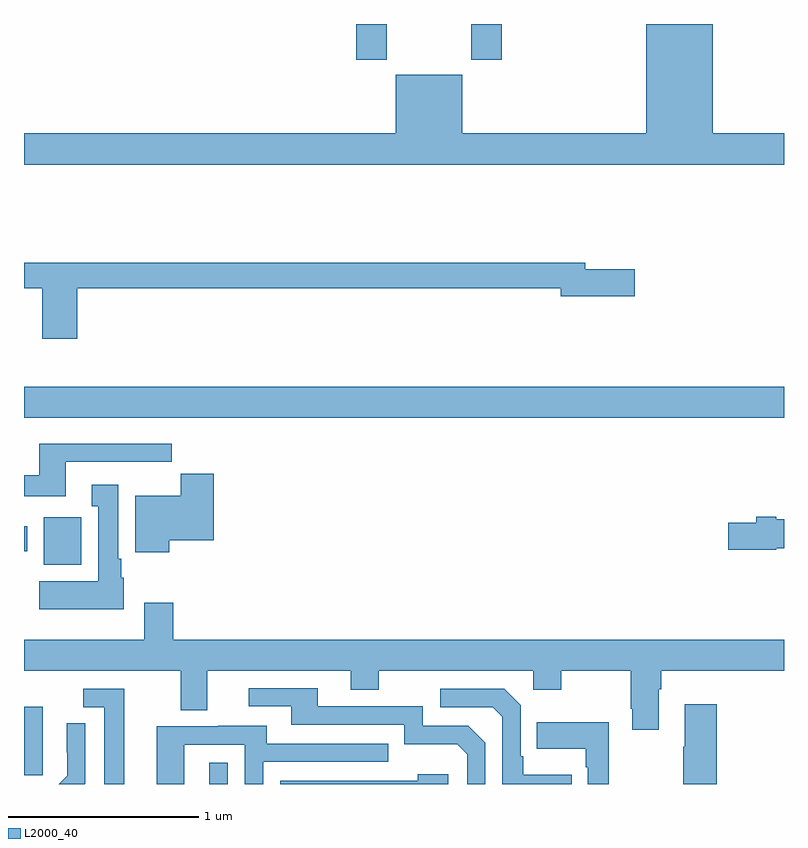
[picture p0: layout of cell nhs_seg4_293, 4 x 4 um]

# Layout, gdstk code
import gdstk
lib = gdstk.Library(unit=1e-6, precision=1e-09)
def R(c, l, rs):  # rectangles x0, y0, x1, y1
    for r in rs: c.add(gdstk.rectangle(r[:2], r[2:], *l))
def P(c, l, *ps):  # polygons
    for p in ps: c.add(gdstk.Polygon(p, *l))
L2000_40 = (2000, 40)

nhs_seg4_293 = lib.new_cell('nhs_seg4_293')
R(nhs_seg4_293, L2000_40, [(125.975,786.9,126.072,787.012), (125,786.945,125.098,787.306), (125.105,788.054,125.301,788.305), (125,788.124,125.017,788.256), (125,788.828,129,788.992), (126.749,790.713,126.909,790.9), (127.354,790.713,127.514,790.9)])
P(nhs_seg4_293, L2000_40, [(129,790.324),(128.626,790.324),(128.626,790.9),(128.276,790.9),(128.276,790.324),(127.306,790.324),(127.306,790.633),(126.956,790.633),(126.956,790.324),(125,790.324),(125,790.16),(129,790.16)],
  [(125.279,789.508),(127.826,789.508),(127.826,789.466),(128.215,789.466),(128.215,789.608),(127.954,789.608),(127.954,789.644),(125,789.644),(125,789.508),(125.096,789.508),(125.096,789.243),(125.279,789.243)],
  [(125.221,788.595),(125.669,788.595),(125.669,788.597),(125.778,788.597),(125.778,788.692),(125.081,788.692),(125.081,788.524),(125,788.524),(125,788.415),(125.221,788.415)],
  [(125.764,788.183),(125.999,788.183),(125.999,788.532),(125.825,788.532),(125.825,788.416),(125.585,788.416),(125.585,788.12),(125.764,788.12)],
  [(125.524,787.986),(125.512,787.986),(125.512,788.086),(125.497,788.086),(125.497,788.476),(125.357,788.476),(125.357,788.363),(125.39,788.363),(125.39,787.966),(125.081,787.966),(125.081,787.82),(125.524,787.82)],
  [(128.959,788.141),(129,788.141),(129,788.293),(128.959,788.293),(128.959,788.306),(128.855,788.306),(128.855,788.276),(128.706,788.276),(128.706,788.134),(128.959,788.134)],
  [(128.341,787.4),(128.354,787.4),(128.354,787.496),(129,787.496),(129,787.66),(125.786,787.66),(125.786,787.855),(125.633,787.855),(125.633,787.66),(125,787.66),(125,787.496),(125.825,787.496),(125.825,787.288),(125.965,787.288),(125.965,787.496),(126.719,787.496),(126.719,787.397),(126.867,787.397),(126.867,787.496),(127.68,787.496),(127.68,787.397),(127.827,787.397),(127.827,787.496),(128.194,787.496),(128.194,787.297),(128.201,787.297),(128.201,787.185),(128.341,787.185)],
  [(127.428,787.116),(127.338,787.206),(127.098,787.206),(127.098,787.308),(126.547,787.308),(126.547,787.404),(126.183,787.404),(126.183,787.308),(126.407,787.308),(126.407,787.212),(127.002,787.212),(127.002,787.109),(127.279,787.109),(127.332,787.056),(127.332,786.9),(127.428,786.9)],
  [(127.883,786.949),(127.627,786.949),(127.627,787.045),(127.614,787.045),(127.614,787.314),(127.527,787.401),(127.191,787.401),(127.191,787.305),(127.467,787.305),(127.518,787.254),(127.518,786.9),(127.883,786.9)],
  [(125.527,787.401),(125.313,787.401),(125.313,787.305),(125.423,787.305),(125.423,786.9),(125.527,786.9)],
  [(128.645,787.321),(128.477,787.321),(128.477,787.097),(128.47,787.097),(128.47,786.9),(128.645,786.9)],
  [(128.077,787.225),(127.699,787.225),(127.699,787.085),(127.956,787.085),(127.956,786.989),(127.968,786.989),(127.968,786.9),(128.077,786.9)],
  [(125.322,786.902),(125.322,787.22),(125.226,787.22),(125.226,787.066),(125.228,787.066),(125.228,786.944),(125.184,786.9),(125.32,786.9)],
  [(125.844,787.107),(126.162,787.107),(126.162,786.9),(126.258,786.9),(126.258,787.017),(126.917,787.017),(126.917,787.113),(126.277,787.113),(126.277,787.207),(126.023,787.207),(126.023,787.203),(125.699,787.203),(125.699,786.9),(125.844,786.9)],
  [(127.234,786.952),(127.073,786.952),(127.073,786.918),(126.348,786.918),(126.348,786.9),(127.234,786.9)])

lib.write_gds('nhs_seg4_293.gds')
